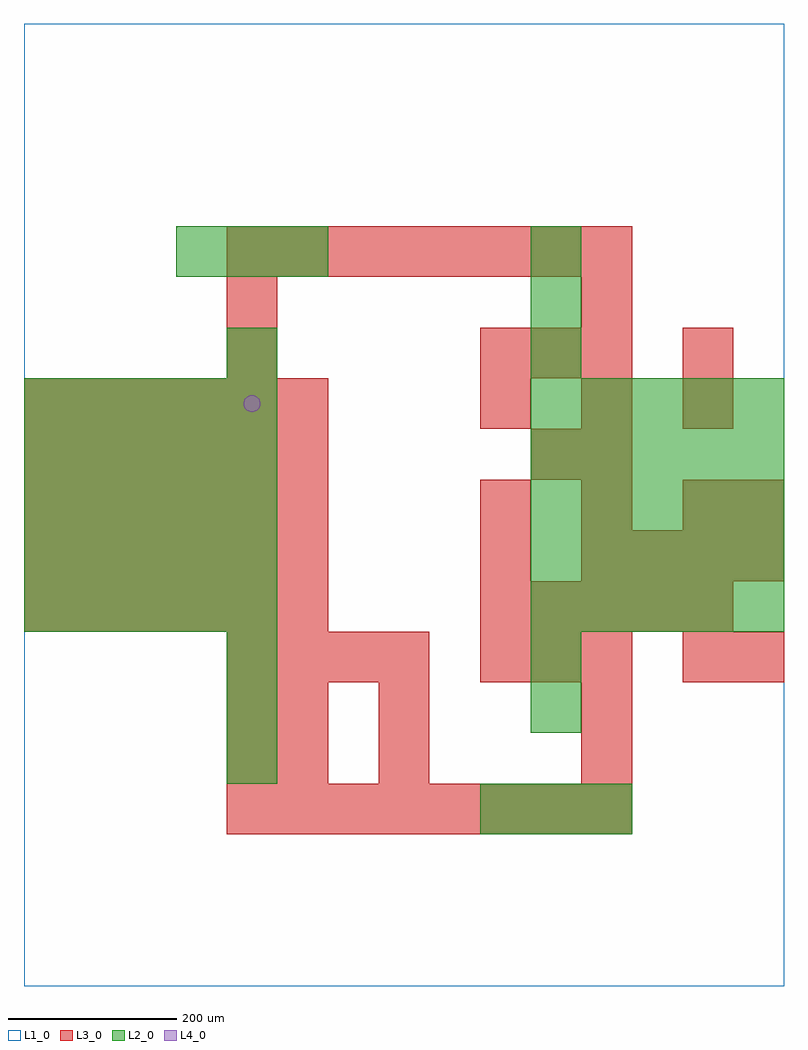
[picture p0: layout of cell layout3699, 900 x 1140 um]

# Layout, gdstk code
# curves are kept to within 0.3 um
import gdstk
lib = gdstk.Library(unit=1e-6, precision=1e-09)
def R(c, l, rs):  # rectangles x0, y0, x1, y1
    for r in rs: c.add(gdstk.rectangle(r[:2], r[2:], *l))
def A(c, l, x, y, w, h, nx, ny, dx, dy):  # array of equal rectangles
    R(c, l, [(x+i*dx, y+j*dy, x+i*dx+w, y+j*dy+h) for i in range(nx) for j in range(ny)])
def P(c, l, *ps):  # polygons
    for p in ps: c.add(gdstk.Polygon(p, *l))
L1_0 = (1, 0)
L2_0 = (2, 0)
L3_0 = (3, 0)
L4_0 = (4, 0)

layout3699 = lib.new_cell('layout3699')
R(layout3699, L1_0, [(0,0,900,1140)])
A(layout3699, L2_0, 540, 180, 60, 60, 3, 1, 60, 0)
A(layout3699, L2_0, 240, 240, 60, 60, 1, 3, 0, 60)
A(layout3699, L2_0, 0, 420, 60, 60, 5, 5, 60, 60)
A(layout3699, L2_0, 600, 420, 60, 60, 5, 5, 60, 60)
A(layout3699, L2_0, 600, 720, 60, 60, 1, 3, 0, 60)
A(layout3699, L2_0, 180, 840, 60, 60, 3, 1, 60, 0)
R(layout3699, L2_0, [(600,300,660,360), (600,360,660,420), (240,720,300,780)])
A(layout3699, L3_0, 240, 180, 60, 60, 8, 2, 60, 660)
A(layout3699, L3_0, 240, 360, 60, 60, 4, 1, 60, 0)
A(layout3699, L3_0, 540, 360, 60, 60, 3, 2, 60, 360)
A(layout3699, L3_0, 0, 420, 60, 60, 6, 5, 60, 60)
A(layout3699, L3_0, 540, 420, 60, 60, 5, 1, 60, 0)
A(layout3699, L3_0, 660, 480, 60, 60, 4, 1, 60, 0)
A(layout3699, L3_0, 540, 540, 60, 60, 3, 2, 120, 120)
R(layout3699, L3_0, [(240,240,300,300), (300,240,360,300), (420,240,480,300), (660,240,720,300), (240,300,300,360), (300,300,360,360), (420,300,480,360), (660,300,720,360), (780,360,840,420), (840,360,900,420), (540,480,600,540), (840,540,900,600), (600,600,660,660), (660,600,720,660), (240,720,300,780), (780,720,840,780), (240,780,300,840), (660,780,720,840)])
P(layout3699, L4_0, [(280,690),(279.239,693.827),(277.071,697.071),(273.827,699.239),(270,700),(266.173,699.239),(262.929,697.071),(260.761,693.827),(260,690),(260.761,686.173),(262.929,682.929),(266.173,680.761),(270,680),(273.827,680.761),(277.071,682.929),(279.239,686.173)])

lib.write_gds('layout3699.gds')
